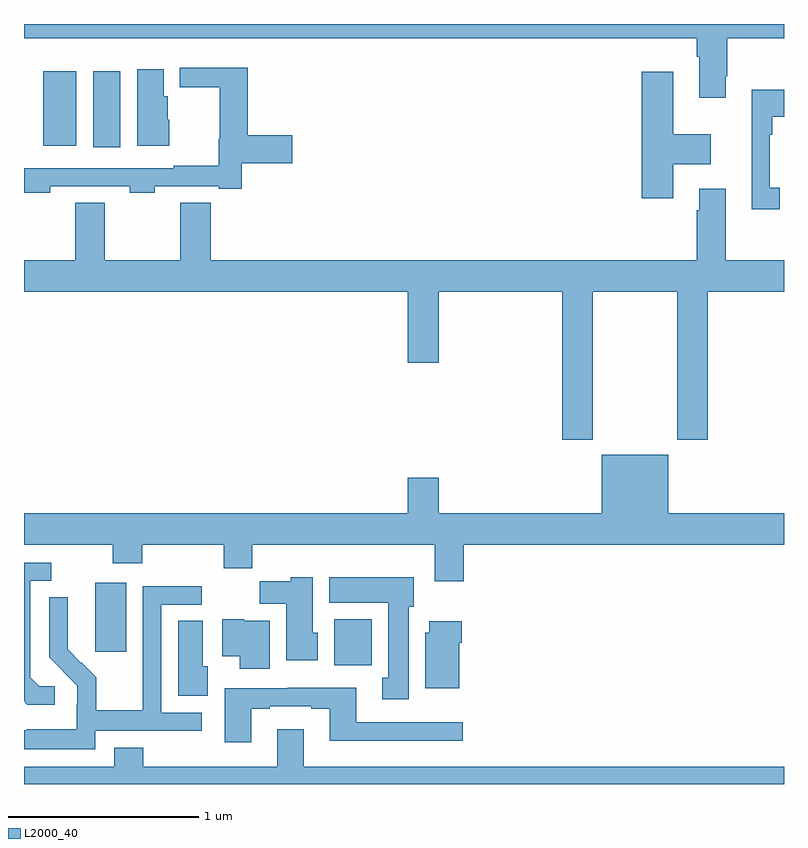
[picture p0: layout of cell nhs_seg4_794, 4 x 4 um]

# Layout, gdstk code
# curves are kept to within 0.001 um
import gdstk
lib = gdstk.Library(unit=1e-6, precision=1e-09)
def R(c, l, rs):  # rectangles x0, y0, x1, y1
    for r in rs: c.add(gdstk.rectangle(r[:2], r[2:], *l))
def P(c, l, *ps):  # polygons
    for p in ps: c.add(gdstk.Polygon(p, *l))
L2000_40 = (2000, 40)

nhs_seg4_794 = lib.new_cell('nhs_seg4_794')
R(nhs_seg4_794, L2000_40, [(152.633,789.524,152.83,789.766), (151.376,789.597,151.537,789.958), (151.364,792.252,151.507,792.652), (151.1,792.26,151.276,792.652)])
P(nhs_seg4_794, L2000_40, [(154.693,792.625),(154.701,792.625),(154.701,792.824),(155,792.824),(155,792.9),(151,792.9),(151,792.824),(154.541,792.824),(154.541,792.728),(154.553,792.728),(154.553,792.513),(154.693,792.513)],
  [(151.137,792.045),(151.557,792.045),(151.557,792.013),(151.689,792.013),(151.689,792.045),(152.024,792.045),(152.024,792.033),(152.146,792.033),(152.146,792.167),(152.413,792.167),(152.413,792.314),(152.177,792.314),(152.177,792.67),(151.821,792.67),(151.821,792.568),(152.03,792.568),(152.03,792.297),(152.024,792.297),(152.024,792.154),(151.789,792.154),(151.789,792.141),(151,792.141),(151,792.013),(151.137,792.013)],
  [(151.765,792.396),(151.756,792.396),(151.756,792.519),(151.735,792.519),(151.735,792.661),(151.595,792.661),(151.595,792.26),(151.765,792.26)],
  [(154.417,792.161),(154.615,792.161),(154.615,792.319),(154.417,792.319),(154.417,792.649),(154.25,792.649),(154.25,791.982),(154.417,791.982)],
  [(154.978,792.038),(154.926,792.038),(154.926,792.317),(154.939,792.317),(154.939,792.413),(155,792.413),(155,792.553),(154.829,792.553),(154.829,791.925),(154.978,791.925)],
  [(153.993,791.492),(154.438,791.492),(154.438,790.713),(154.598,790.713),(154.598,791.492),(155,791.492),(155,791.656),(154.693,791.656),(154.693,792.034),(154.553,792.034),(154.553,791.921),(154.541,791.921),(154.541,791.656),(151.982,791.656),(151.982,791.96),(151.822,791.96),(151.822,791.656),(151.424,791.656),(151.424,791.96),(151.27,791.96),(151.27,791.656),(151,791.656),(151,791.492),(153.02,791.492),(153.02,791.118),(153.184,791.118),(153.184,791.492),(153.833,791.492),(153.833,790.713),(153.993,790.713)],
  [(153.314,790.16),(155,790.16),(155,790.324),(154.39,790.324),(154.39,790.633),(154.04,790.633),(154.04,790.324),(153.184,790.324),(153.184,790.513),(153.02,790.513),(153.02,790.324),(151,790.324),(151,790.16),(151.468,790.16),(151.468,790.061),(151.623,790.061),(151.623,790.16),(152.05,790.16),(152.05,790.036),(152.201,790.036),(152.201,790.16),(153.161,790.16),(153.161,789.966),(153.314,789.966)],
  [(151.162,789.414),(151.08,789.414),(151.033,789.461),(151.033,789.969),(151.144,789.969),(151.144,790.065),(151,790.065),(151,789.335),(151.018,789.317),(151.162,789.317)],
  [(153.025,789.834),(153.052,789.834),(153.052,789.988),(152.606,789.988),(152.606,789.854),(152.918,789.854),(152.918,789.458),(152.885,789.458),(152.885,789.345),(153.025,789.345)],
  [(152.545,789.696),(152.521,789.696),(152.521,789.988),(152.403,789.988),(152.403,789.967),(152.242,789.967),(152.242,789.848),(152.381,789.848),(152.381,789.552),(152.545,789.552)],
  [(151.374,789.18),(151.936,789.18),(151.936,789.276),(151.722,789.276),(151.722,789.843),(151.936,789.843),(151.936,789.942),(151.626,789.942),(151.626,789.509),(151.624,789.509),(151.624,789.289),(151.379,789.289),(151.379,789.463),(151.302,789.54),(151.299,789.537),(151.229,789.608),(151.229,789.743),(151.231,789.743),(151.231,789.884),(151.134,789.884),(151.134,789.566),(151.28,789.418),(151.28,789.321),(151.278,789.321),(151.278,789.187),(151.015,789.187),(151.015,789.183),(151,789.183),(151,789.083),(151.374,789.083)],
  [(152.293,789.76),(152.16,789.76),(152.16,789.766),(152.043,789.766),(152.043,789.572),(152.135,789.572),(152.135,789.507),(152.293,789.507)],
  [(151.968,789.519),(151.942,789.519),(151.942,789.758),(151.811,789.758),(151.811,789.365),(151.968,789.365)],
  [(153.292,789.644),(153.305,789.644),(153.305,789.757),(153.134,789.757),(153.134,789.696),(153.113,789.696),(153.113,789.404),(153.292,789.404)],
  [(152.197,789.297),(152.293,789.297),(152.293,789.309),(152.513,789.309),(152.513,789.297),(152.609,789.297),(152.609,789.128),(153.31,789.128),(153.31,789.225),(152.749,789.225),(152.749,789.406),(152.389,789.406),(152.389,789.405),(152.057,789.405),(152.057,789.12),(152.197,789.12)],
  [(155,788.992),(152.473,788.992),(152.473,789.187),(152.333,789.187),(152.333,788.992),(151.628,788.992),(151.628,789.091),(151.475,789.091),(151.475,788.992),(151,788.992),(151,788.9),(155,788.9)])

lib.write_gds('nhs_seg4_794.gds')
